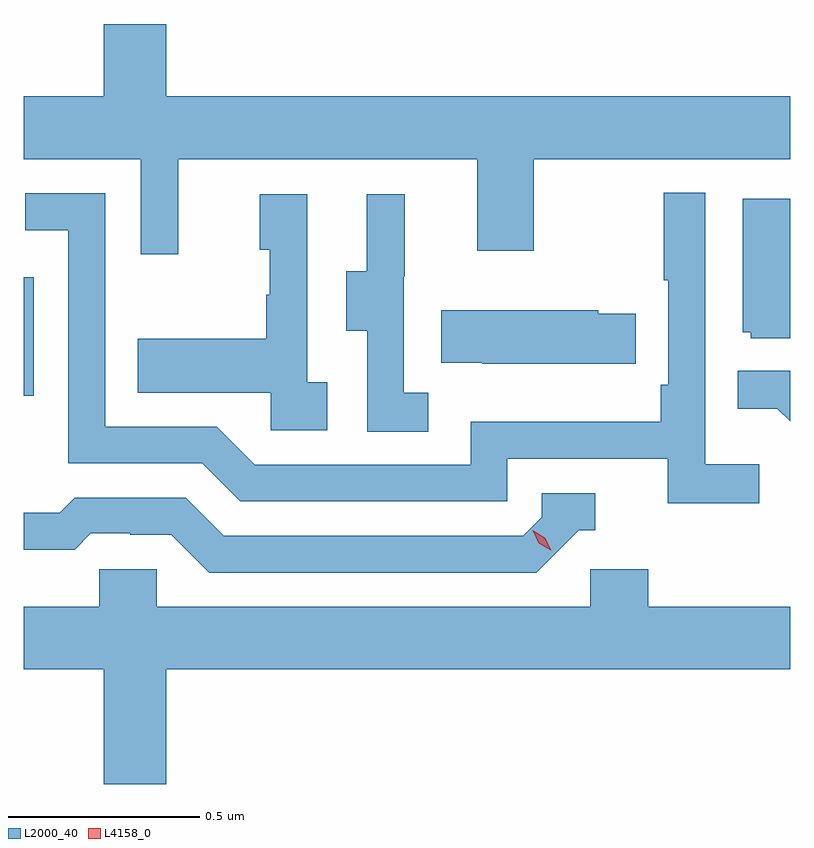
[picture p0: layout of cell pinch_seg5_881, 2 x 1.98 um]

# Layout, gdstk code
import gdstk
lib = gdstk.Library(unit=1e-6, precision=1e-09)
def R(c, l, rs):  # rectangles x0, y0, x1, y1
    for r in rs: c.add(gdstk.rectangle(r[:2], r[2:], *l))
def P(c, l, *ps):  # polygons
    for p in ps: c.add(gdstk.Polygon(p, *l))
L2000_40 = (2000, 40)
L4158_0 = (4158, 0)

pinch_seg5_881 = lib.new_cell('pinch_seg5_881')
R(pinch_seg5_881, L2000_40, [(848.116,877.455,848.142,877.764)])
P(pinch_seg5_881, L2000_40, [(848.519,878.072),(849.299,878.072),(849.299,877.833),(849.447,877.833),(849.447,878.072),(850.116,878.072),(850.116,878.236),(848.488,878.236),(848.488,878.425),(848.324,878.425),(848.324,878.236),(848.116,878.236),(848.116,878.072),(848.421,878.072),(848.421,877.824),(848.519,877.824)],
  [(850.036,877.276),(849.894,877.276),(849.894,877.984),(849.786,877.984),(849.786,877.756),(849.798,877.756),(849.798,877.483),(849.778,877.483),(849.778,877.387),(849.282,877.387),(849.282,877.275),(848.718,877.275),(848.619,877.374),(848.328,877.374),(848.328,877.983),(848.119,877.983),(848.119,877.887),(848.232,877.887),(848.232,877.278),(848.582,877.278),(848.681,877.179),(849.378,877.179),(849.378,877.29),(849.797,877.29),(849.797,877.174),(850.036,877.174)],
  [(848.908,877.49),(848.856,877.49),(848.856,877.981),(848.732,877.981),(848.732,877.836),(848.758,877.836),(848.758,877.718),(848.748,877.718),(848.748,877.603),(848.413,877.603),(848.413,877.463),(848.76,877.463),(848.76,877.365),(848.908,877.365)],
  [(849.172,877.463),(849.108,877.463),(849.108,877.767),(849.11,877.767),(849.11,877.981),(849.011,877.981),(849.011,877.779),(848.957,877.779),(848.957,877.624),(849.012,877.624),(849.012,877.36),(849.172,877.36)],
  [(850.116,877.969),(849.992,877.969),(849.992,877.62),(850.014,877.62),(850.014,877.605),(850.116,877.605)],
  [(849.713,877.668),(849.615,877.668),(849.615,877.678),(849.205,877.678),(849.205,877.541),(849.313,877.541),(849.313,877.538),(849.713,877.538)],
  [(850.116,877.52),(849.979,877.52),(849.979,877.421),(850.083,877.421),(850.116,877.388)],
  [(849.564,877.104),(849.607,877.104),(849.607,877.2),(849.468,877.2),(849.468,877.137),(849.42,877.089),(848.637,877.089),(848.538,877.188),(848.249,877.188),(848.21,877.149),(848.116,877.149),(848.116,877.053),(848.249,877.053),(848.291,877.095),(848.394,877.095),(848.394,877.092),(848.501,877.092),(848.6,876.993),(849.453,876.993)],
  [(848.488,876.74),(850.116,876.74),(850.116,876.904),(849.746,876.904),(849.746,877.002),(849.594,877.002),(849.594,876.904),(848.463,876.904),(848.463,877.002),(848.313,877.002),(848.313,876.904),(848.116,876.904),(848.116,876.74),(848.324,876.74),(848.324,876.441),(848.488,876.441)])
P(pinch_seg5_881, L4158_0, [(849.491,877.051),(849.46,877.07),(849.444,877.103),(849.444,877.103),(849.444,877.103),(849.475,877.084),(849.492,877.051),(849.492,877.051)])

lib.write_gds('pinch_seg5_881.gds')
